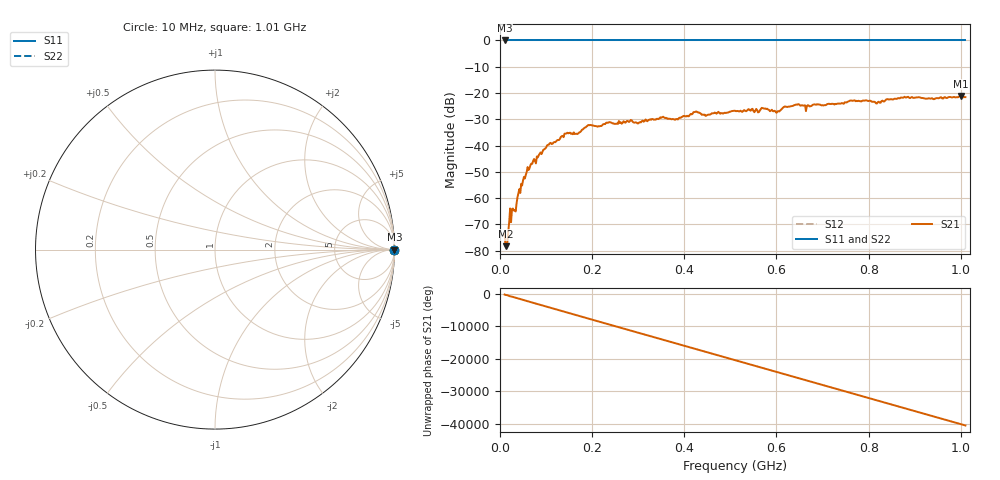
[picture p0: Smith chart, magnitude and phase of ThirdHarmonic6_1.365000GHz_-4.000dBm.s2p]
! 8/16/2025 3:25:50 PM
! C:\ANRITSUVNA\TEMP\TEMP.S2P
! CHANNEL.1
! TR.MEASUREMENT
! RAW.DATA
! RF.CORRECTION.OFF
! AVERAGING.OFF
! IF.BANDWIDTH: 5KHZ
! SWEEPTYPE:  FREQ.SWEEP(Linear)
! Reference Plane Port Info
! PORT:  PORT1  PORT2
! DISTANCE:  0  m  0  m
! TIME:  0  s  0  s
! PHASE.OFFSET:  0  deg.  0  deg.
! LOSS:  0  dB  0  dB
! REF.LOSS:  0  dB  0  dB
! REF.FREQ:  0  Hz  0  Hz
! Power Info
! POWER:  -20  dBm  -20  dBm
! EFF.POWER:  -20  dBm  -20  dBm
! SOURCE.ATTEN:  0  dB  0  dB
! TEST.ATTEN:  0  dB  0  dB
# GHZ S RI R 50.0
! FREQ.GHZ  S11RE  S11IM  S21RE  S21IM  S12RE  S12IM  S22RE  S22IM
!; PortSelection: Port_12
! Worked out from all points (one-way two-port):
!   501 points, 10 MHz to 1.01 GHz, reference 50 ohm
!   highest |S21| = -21.08 dB at 1 GHz (marker M1); lowest = -78.3 dB at 12 MHz (marker M2)
!   lowest |S11| = 0.0 dB at 10 MHz (marker M3)
!   |S11| at or under -10 dB: nowhere
!   |S22| runs from 0.0 to 0.0 dB; largest |S21 - S12| = 1.1
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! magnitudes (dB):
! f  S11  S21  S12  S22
! 10 MHz  0.0  -73.5  0.0  0.0
! 12 MHz  0.0  -78.3  0.0  0.0
! 16 MHz  0.0  -76.8  0.0  0.0
! 24 MHz  0.0  -69.2  0.0  0.0
! 34 MHz  0.0  -65.1  0.0  0.0
! 42 MHz  0.0  -56.6  0.0  0.0
! 56 MHz  0.0  -51.2  0.0  0.0
! 70 MHz  0.0  -47.0  0.0  0.0
! 106 MHz  0.0  -39.7  0.0  0.0
! 144 MHz  0.0  -35.4  0.0  0.0
! 178 MHz  0.0  -34.0  0.0  0.0
! 194 MHz  0.0  -32.3  0.0  0.0
! 344 MHz  0.0  -29.9  0.0  0.0
! 424 MHz  0.0  -27.2  0.0  0.0
! 510 MHz  0.0  -26.8  0.0  0.0
! 572 MHz  0.0  -25.9  0.0  0.0
! 602 MHz  0.0  -27.0  0.0  0.0
! 644 MHz  0.0  -24.4  0.0  0.0
! 678 MHz  0.0  -24.6  0.0  0.0
! 844 MHz  0.0  -22.5  0.0  0.0
! 1 GHz  0.0  -21.1  0.0  0.0
! 1.01 GHz  0.0  -21.6  0.0  0.0
